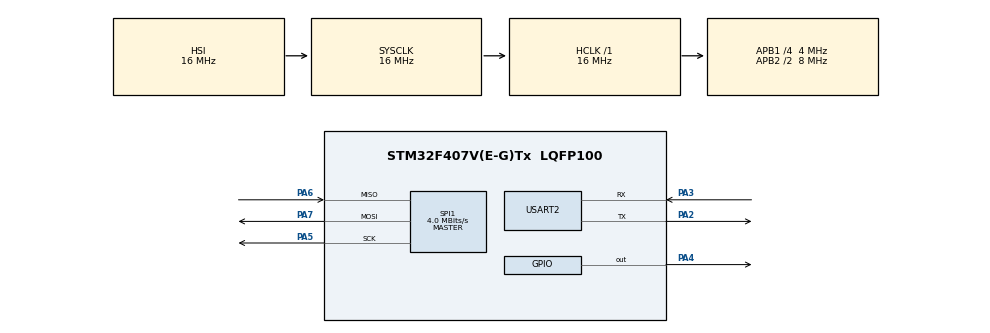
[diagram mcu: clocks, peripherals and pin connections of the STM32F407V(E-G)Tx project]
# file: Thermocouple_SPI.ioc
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Mcu.Family=STM32F4
Mcu.Name=STM32F407V(E-G)Tx
Mcu.Package=LQFP100
NVIC.PriorityGroup=NVIC_PRIORITYGROUP_0
PA2.Mode=Asynchronous
PA2.Signal=USART2_TX
PA3.Mode=Asynchronous
PA3.Signal=USART2_RX
PA4.Signal=GPIO_Output
PA5.Mode=Full_Duplex_Master
PA5.Signal=SPI1_SCK
PA6.Mode=Full_Duplex_Master
PA6.Signal=SPI1_MISO
PA7.Mode=Full_Duplex_Master
PA7.Signal=SPI1_MOSI
PH0-OSC_IN.Mode=HSE-External-Oscillator
PH0-OSC_IN.Signal=RCC_OSC_IN
PH1-OSC_OUT.Mode=HSE-External-Oscillator
PH1-OSC_OUT.Signal=RCC_OSC_OUT
ProjectManager.HeapSize=0x200
ProjectManager.StackSize=0x400
ProjectManager.TargetToolchain=STM32CubeIDE
RCC.48MHZClocksFreq_Value=96000000
RCC.AHBFreq_Value=16000000
RCC.APB1CLKDivider=RCC_HCLK_DIV4
RCC.APB1Freq_Value=4000000
RCC.APB1TimFreq_Value=8000000
RCC.APB2CLKDivider=RCC_HCLK_DIV2
RCC.APB2Freq_Value=8000000
RCC.APB2TimFreq_Value=16000000
RCC.CortexFreq_Value=16000000
RCC.HCLKFreq_Value=16000000
RCC.HSE_VALUE=8000000
RCC.HSI_VALUE=16000000
RCC.PLLM=8
RCC.PLLN=336
RCC.PLLQ=7
RCC.SYSCLKFreq_VALUE=16000000
RCC.VCOOutputFreq_Value=672000000
SPI1.CalculateBaudRate=4.0 MBits/s
SPI1.Direction=SPI_DIRECTION_2LINES
SPI1.Mode=SPI_MODE_MASTER
SPI1.VirtualType=VM_MASTER
USART2.VirtualMode=VM_ASYNC
board=STM32F407G-DISC1

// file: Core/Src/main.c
/* USER CODE BEGIN Header */
/**
  ******************************************************************************
  * @file           : main.c
  * @brief          : Main program body
  ******************************************************************************
  * @attention
  *
  * Copyright (c) 2026 STMicroelectronics.
  * All rights reserved.
  *
  * This software is licensed under terms that can be found in the LICENSE file
  * in the root directory of this software component.
  * If no LICENSE file comes with this software, it is provided AS-IS.
  *
  ******************************************************************************
  */
/* USER CODE END Header */
#include "main.h"

/* USER CODE BEGIN Includes */

#include <stdio.h>

/* USER CODE END Includes */

SPI_HandleTypeDef hspi1;

UART_HandleTypeDef huart2;

void SystemClock_Config(void);
static void MX_GPIO_Init(void);
static void MX_SPI1_Init(void);
static void MX_USART2_UART_Init(void);
/* USER CODE BEGIN PFP */

uint16_t read_MAX6675(void);
float get_temperature(void);
/* USER CODE END PFP */

int main(void)
{

  /* MCU Configuration--------------------------------------------------------*/

  /* Reset of all peripherals, Initializes the Flash interface and the Systick. */
  HAL_Init();

  /* Configure the system clock */
  SystemClock_Config();

  /* Initialize all configured peripherals */
  MX_GPIO_Init();
  MX_SPI1_Init();
  MX_USART2_UART_Init();
  /* USER CODE BEGIN 2 */
  HAL_GPIO_WritePin(GPIOA, GPIO_PIN_4, GPIO_PIN_SET);
  /* USER CODE END 2 */

  /* Infinite loop */
  while (1)
  {
	  uint16_t raw = read_MAX6675();   // read raw data

	     printf("RAW = %u\r\n", raw);     // debug raw value

	  float temp = raw * 0.25();  // convert to temp

	      printf("Tempt = %2.f C\r\n", temp); // @suppress("Float formatting support")

	      HAL_Delay(500);

  }
}

void SystemClock_Config(void)
{
  RCC_OscInitTypeDef RCC_OscInitStruct = {0};
  RCC_ClkInitTypeDef RCC_ClkInitStruct = {0};

  /** Configure the main internal regulator output voltage
  */
  __HAL_RCC_PWR_CLK_ENABLE();
  __HAL_PWR_VOLTAGESCALING_CONFIG(PWR_REGULATOR_VOLTAGE_SCALE1);

  /** Initializes the RCC Oscillators according to the specified parameters
  * in the RCC_OscInitTypeDef structure.
  */
  RCC_OscInitStruct.OscillatorType = RCC_OSCILLATORTYPE_HSI;
  RCC_OscInitStruct.HSIState = RCC_HSI_ON;
  RCC_OscInitStruct.HSICalibrationValue = RCC_HSICALIBRATION_DEFAULT;
  RCC_OscInitStruct.PLL.PLLState = RCC_PLL_NONE;
  if (HAL_RCC_OscConfig(&RCC_OscInitStruct) != HAL_OK)
  {
    Error_Handler();
  }

  /** Initializes the CPU, AHB and APB buses clocks
  */
  RCC_ClkInitStruct.ClockType = RCC_CLOCKTYPE_HCLK|RCC_CLOCKTYPE_SYSCLK
                              |RCC_CLOCKTYPE_PCLK1|RCC_CLOCKTYPE_PCLK2;
  RCC_ClkInitStruct.SYSCLKSource = RCC_SYSCLKSOURCE_HSI;
  RCC_ClkInitStruct.AHBCLKDivider = RCC_SYSCLK_DIV1;
  RCC_ClkInitStruct.APB1CLKDivider = RCC_HCLK_DIV4;
  RCC_ClkInitStruct.APB2CLKDivider = RCC_HCLK_DIV2;

  if (HAL_RCC_ClockConfig(&RCC_ClkInitStruct, FLASH_LATENCY_0) != HAL_OK)
  {
    Error_Handler();
  }
}

static void MX_SPI1_Init(void)
{

  /* SPI1 parameter configuration*/
  hspi1.Instance = SPI1;
  hspi1.Init.Mode = SPI_MODE_MASTER;
  hspi1.Init.Direction = SPI_DIRECTION_2LINES;
  hspi1.Init.DataSize = SPI_DATASIZE_8BIT;
  hspi1.Init.CLKPolarity = SPI_POLARITY_LOW;
  hspi1.Init.CLKPhase = SPI_PHASE_1EDGE;
  hspi1.Init.NSS = SPI_NSS_SOFT;
  hspi1.Init.BaudRatePrescaler = SPI_BAUDRATEPRESCALER_2;
  hspi1.Init.FirstBit = SPI_FIRSTBIT_MSB;
  hspi1.Init.TIMode = SPI_TIMODE_DISABLE;
  hspi1.Init.CRCCalculation = SPI_CRCCALCULATION_DISABLE;
  hspi1.Init.CRCPolynomial = 10;
  if (HAL_SPI_Init(&hspi1) != HAL_OK)
  {
    Error_Handler();
  }

}

static void MX_USART2_UART_Init(void)
{

  huart2.Instance = USART2;
  huart2.Init.BaudRate = 115200;
  huart2.Init.WordLength = UART_WORDLENGTH_8B;
  huart2.Init.StopBits = UART_STOPBITS_1;
  huart2.Init.Parity = UART_PARITY_NONE;
  huart2.Init.Mode = UART_MODE_TX_RX;
  huart2.Init.HwFlowCtl = UART_HWCONTROL_NONE;
  huart2.Init.OverSampling = UART_OVERSAMPLING_16;
  if (HAL_UART_Init(&huart2) != HAL_OK)
  {
    Error_Handler();
  }

}

static void MX_GPIO_Init(void)
{
  GPIO_InitTypeDef GPIO_InitStruct = {0};

  /* GPIO Ports Clock Enable */
  __HAL_RCC_GPIOH_CLK_ENABLE();
  __HAL_RCC_GPIOA_CLK_ENABLE();

  /*Configure GPIO pin Output Level */
  HAL_GPIO_WritePin(GPIOA, GPIO_PIN_4, GPIO_PIN_RESET);

  /*Configure GPIO pin : PA4 */
  GPIO_InitStruct.Pin = GPIO_PIN_4;
  GPIO_InitStruct.Mode = GPIO_MODE_OUTPUT_PP;
  GPIO_InitStruct.Pull = GPIO_NOPULL;
  GPIO_InitStruct.Speed = GPIO_SPEED_FREQ_LOW;
  HAL_GPIO_Init(GPIOA, &GPIO_InitStruct);

}

/* USER CODE BEGIN 4 */

int _write(int file, char *ptr, int len)
{
    HAL_UART_Transmit(&huart2, (uint8_t*)ptr, len, HAL_MAX_DELAY);
    return len;
}
uint16_t read_MAX6675()
{
    uint8_t rx[2] = {0};
    uint16_t value = 0;

    HAL_GPIO_WritePin(GPIOA, GPIO_PIN_4, GPIO_PIN_RESET);

    HAL_SPI_Receive(&hspi1, rx, 2, HAL_MAX_DELAY);

    HAL_GPIO_WritePin(GPIOA, GPIO_PIN_4, GPIO_PIN_SET);

    value = (rx[0] << 8) | rx[1];

    return value;
}

float get_temperature()
{
    uint16_t raw = read_MAX6675();

    if (raw & 0x4)
        return -1;

    raw >>= 3;

    return raw * 0.25;
}
/* USER CODE END 4 */

void Error_Handler(void)
{
  __disable_irq();
  while (1)
  {
  }
}
